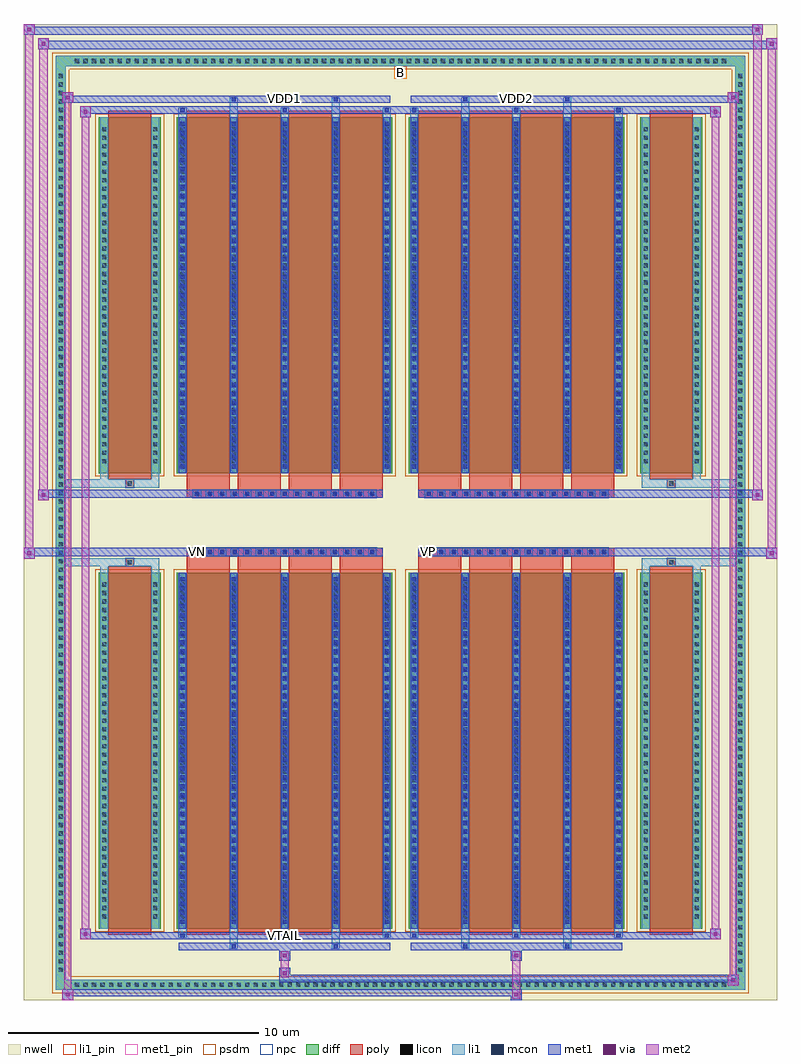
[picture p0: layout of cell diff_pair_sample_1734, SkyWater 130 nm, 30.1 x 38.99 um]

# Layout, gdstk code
import gdstk
lib = gdstk.Library(unit=1e-6, precision=5e-09)
def R(c, l, rs):  # rectangles x0, y0, x1, y1
    for r in rs: c.add(gdstk.rectangle(r[:2], r[2:], *l))
def A(c, l, x, y, w, h, nx, ny, dx, dy):  # array of equal rectangles
    R(c, l, [(x+i*dx, y+j*dy, x+i*dx+w, y+j*dy+h) for i in range(nx) for j in range(ny)])
def P(c, l, *ps):  # polygons
    for p in ps: c.add(gdstk.Polygon(p, *l))
nwell = (64, 20)
diff = (65, 20)
poly = (66, 20)
licon = (66, 44)
li1_pin = (67, 16)
li1 = (67, 20)
mcon = (67, 44)
met1_pin = (68, 16)
met1 = (68, 20)
via = (68, 44)
met2 = (69, 20)
psdm = (94, 20)
npc = (95, 20)

diff_pair_sample_1734 = lib.new_cell('diff_pair_sample_1734')
R(diff_pair_sample_1734, nwell, [(-15.05,-19.06,15.05,19.93), (-12.37,-17.25,-0.01,-0.795), (0.01,-17.25,12.37,-0.795), (-12.37,0.795,-0.01,17.25), (0.01,0.795,12.37,17.25)])
A(diff_pair_sample_1734, diff, -13.125, -18.66, 0.41, 0.41, 77, 2, 0.34, 36.91)
A(diff_pair_sample_1734, diff, -13.78, -18.055, 0.41, 0.41, 1, 106, 0, 0.34)
A(diff_pair_sample_1734, diff, 13.37, -18.055, 0.41, 0.41, 1, 106, 0, 0.34)
R(diff_pair_sample_1734, diff, [(-13.125,-18.66,13.125,-18.25), (-13.78,-18.055,-13.37,18.055), (13.37,-18.055,13.78,18.055), (-12.06,-16.205,-9.57,-1.985), (-8.93,-16.205,-0.32,-1.985), (0.32,-16.205,8.93,-1.985), (9.57,-16.205,12.06,-1.985), (-12.06,1.985,-9.57,16.205), (-8.93,1.985,-0.32,16.205), (0.32,1.985,8.93,16.205), (9.57,1.985,12.06,16.205), (-13.125,18.25,13.125,18.66)])
P(diff_pair_sample_1734, diff, [(13.78,18.66),(-13.78,18.66),(-13.78,-18.25),(-13.37,-18.25),(-13.37,18.25),(13.37,18.25),(13.37,-18.25),(-13.37,-18.25),(-13.78,-18.25),(-13.78,-18.66),(13.78,-18.66)])
A(diff_pair_sample_1734, poly, -8.54, -16.455, 1.71, 14.72, 4, 2, 2.04, 18.19)
A(diff_pair_sample_1734, poly, 0.71, -16.455, 1.71, 14.72, 4, 2, 2.04, 18.19)
A(diff_pair_sample_1734, poly, -8.54, -1.735, 1.71, 0.41, 4, 2, 2.04, 3.06)
A(diff_pair_sample_1734, poly, 0.71, -1.735, 1.71, 0.41, 4, 2, 2.04, 3.06)
A(diff_pair_sample_1734, poly, -8.29, -1.325, 0.33, 0.33, 15, 2, 0.5, 2.32)
A(diff_pair_sample_1734, poly, 0.96, -1.325, 0.33, 0.33, 15, 2, 0.5, 2.32)
R(diff_pair_sample_1734, poly, [(-11.67,-16.455,-9.96,-1.735), (9.96,-16.455,11.67,-1.735), (-10.98,-1.735,-10.65,-1.405), (-10.98,-1.735,-10.65,-1.405), (10.65,-1.735,10.98,-1.405), (10.65,-1.735,10.98,-1.405), (-8.54,-1.325,-0.71,-0.995), (0.71,-1.325,8.54,-0.995), (-8.54,0.995,-0.71,1.325), (0.71,0.995,8.54,1.325), (-10.98,1.405,-10.65,1.735), (-10.98,1.405,-10.65,1.735), (10.65,1.405,10.98,1.735), (10.65,1.405,10.98,1.735), (-11.67,1.735,-9.96,16.455), (9.96,1.735,11.67,16.455)])
A(diff_pair_sample_1734, licon, -13.005, -18.54, 0.17, 0.17, 77, 2, 0.34, 36.91)
A(diff_pair_sample_1734, licon, -13.66, -17.935, 0.17, 0.17, 1, 106, 0, 0.34)
A(diff_pair_sample_1734, licon, 13.49, -17.935, 0.17, 0.17, 1, 106, 0, 0.34)
A(diff_pair_sample_1734, licon, -11.92, -15.81, 0.17, 0.17, 1, 40, 0, 0.34)
A(diff_pair_sample_1734, licon, -9.88, -15.81, 0.17, 0.17, 1, 40, 0, 0.34)
A(diff_pair_sample_1734, licon, -8.79, -15.81, 0.17, 0.17, 5, 40, 2.04, 0.34)
A(diff_pair_sample_1734, licon, 0.46, -15.81, 0.17, 0.17, 5, 40, 2.04, 0.34)
A(diff_pair_sample_1734, licon, 9.71, -15.81, 0.17, 0.17, 1, 40, 0, 0.34)
A(diff_pair_sample_1734, licon, 11.75, -15.81, 0.17, 0.17, 1, 40, 0, 0.34)
A(diff_pair_sample_1734, licon, -8.21, -1.245, 0.17, 0.17, 15, 2, 0.5, 2.32)
A(diff_pair_sample_1734, licon, 1.04, -1.245, 0.17, 0.17, 15, 2, 0.5, 2.32)
A(diff_pair_sample_1734, licon, -11.92, 2.38, 0.17, 0.17, 1, 40, 0, 0.34)
A(diff_pair_sample_1734, licon, -9.88, 2.38, 0.17, 0.17, 1, 40, 0, 0.34)
A(diff_pair_sample_1734, licon, -8.79, 2.38, 0.17, 0.17, 5, 40, 2.04, 0.34)
A(diff_pair_sample_1734, licon, 0.46, 2.38, 0.17, 0.17, 5, 40, 2.04, 0.34)
A(diff_pair_sample_1734, licon, 9.71, 2.38, 0.17, 0.17, 1, 40, 0, 0.34)
A(diff_pair_sample_1734, licon, 11.75, 2.38, 0.17, 0.17, 1, 40, 0, 0.34)
R(diff_pair_sample_1734, licon, [(-10.9,-1.655,-10.73,-1.485), (10.73,-1.655,10.9,-1.485), (-10.9,1.485,-10.73,1.655), (10.73,1.485,10.9,1.655)])
R(diff_pair_sample_1734, li1_pin, [(-0.25,17.75,0.25,18.25)])
A(diff_pair_sample_1734, li1, -13.085, -18.62, 0.33, 0.33, 77, 2, 0.34, 36.91)
A(diff_pair_sample_1734, li1, -13.74, -18.015, 0.33, 0.33, 1, 106, 0, 0.34)
A(diff_pair_sample_1734, li1, 13.41, -18.015, 0.33, 0.33, 1, 106, 0, 0.34)
A(diff_pair_sample_1734, li1, -8.87, -16.58, 0.33, 0.375, 3, 2, 4.08, 32.785)
A(diff_pair_sample_1734, li1, -8.79, -16.58, 0.17, 0.17, 3, 2, 4.08, 32.99)
A(diff_pair_sample_1734, li1, 0.38, -16.58, 0.33, 0.375, 3, 2, 4.08, 32.785)
A(diff_pair_sample_1734, li1, 0.46, -16.58, 0.17, 0.17, 3, 2, 4.08, 32.99)
A(diff_pair_sample_1734, li1, -8.87, -16.205, 0.33, 14.22, 5, 2, 2.04, 18.19)
A(diff_pair_sample_1734, li1, 0.38, -16.205, 0.33, 14.22, 5, 2, 2.04, 18.19)
A(diff_pair_sample_1734, li1, -8.79, -16.02, 0.17, 0.17, 5, 39, 2.04, 0.36)
A(diff_pair_sample_1734, li1, -8.79, -16.02, 0.17, 13.85, 5, 2, 2.04, 18.19)
A(diff_pair_sample_1734, li1, 0.46, -16.02, 0.17, 0.17, 5, 39, 2.04, 0.36)
A(diff_pair_sample_1734, li1, 0.46, -16.02, 0.17, 13.85, 5, 2, 2.04, 18.19)
A(diff_pair_sample_1734, li1, -12, -15.89, 0.33, 0.33, 1, 40, 0, 0.34)
A(diff_pair_sample_1734, li1, -9.96, -15.89, 0.33, 0.33, 1, 40, 0, 0.34)
A(diff_pair_sample_1734, li1, -8.87, -15.89, 0.33, 0.33, 5, 40, 2.04, 0.34)
A(diff_pair_sample_1734, li1, 0.38, -15.89, 0.33, 0.33, 5, 40, 2.04, 0.34)
A(diff_pair_sample_1734, li1, 9.63, -15.89, 0.33, 0.33, 1, 40, 0, 0.34)
A(diff_pair_sample_1734, li1, 11.67, -15.89, 0.33, 0.33, 1, 40, 0, 0.34)
A(diff_pair_sample_1734, li1, -8.29, -1.325, 0.33, 0.33, 15, 2, 0.5, 2.32)
A(diff_pair_sample_1734, li1, 0.96, -1.325, 0.33, 0.33, 15, 2, 0.5, 2.32)
A(diff_pair_sample_1734, li1, -8.79, 2.17, 0.17, 0.17, 5, 39, 2.04, 0.36)
A(diff_pair_sample_1734, li1, 0.46, 2.17, 0.17, 0.17, 5, 39, 2.04, 0.36)
A(diff_pair_sample_1734, li1, -12, 2.3, 0.33, 0.33, 1, 40, 0, 0.34)
A(diff_pair_sample_1734, li1, -9.96, 2.3, 0.33, 0.33, 1, 40, 0, 0.34)
A(diff_pair_sample_1734, li1, -8.87, 2.3, 0.33, 0.33, 5, 40, 2.04, 0.34)
A(diff_pair_sample_1734, li1, 0.38, 2.3, 0.33, 0.33, 5, 40, 2.04, 0.34)
A(diff_pair_sample_1734, li1, 9.63, 2.3, 0.33, 0.33, 1, 40, 0, 0.34)
A(diff_pair_sample_1734, li1, 11.67, 2.3, 0.33, 0.33, 1, 40, 0, 0.34)
R(diff_pair_sample_1734, li1, [(-13.78,-18.66,-13.37,-18.25), (-13.78,-18.66,-13.37,-18.25), (-13.37,-18.66,13.37,-18.25), (13.37,-18.66,13.78,-18.25), (13.37,-18.66,13.78,-18.25), (-13.78,-18.25,-13.37,18.25), (13.37,-18.25,13.78,18.25), (-6.83,-17.01,-6.5,-16.205), (-6.75,-17.01,-6.58,-16.84), (-2.75,-17.01,-2.42,-16.205), (-2.67,-17.01,-2.5,-16.84), (2.42,-17.01,2.75,-16.205), (2.5,-17.01,2.67,-16.84), (6.5,-17.01,6.83,-16.205), (6.58,-17.01,6.75,-16.84), (-12,-16.205,-11.67,-1.985), (-9.96,-16.205,-9.63,-1.985), (9.63,-16.205,9.96,-1.985), (11.67,-16.205,12,-1.985), (-12,-1.985,-11.67,-1.405), (-9.96,-1.985,-9.63,-1.405), (9.63,-1.985,9.96,-1.405), (11.67,-1.985,12,-1.405), (-13.78,-1.735,-10.98,-1.405), (-12,-1.735,-10.98,-1.405), (-10.98,-1.735,-10.65,-1.405), (-10.65,-1.735,-9.63,-1.405), (9.63,-1.735,10.65,-1.405), (10.65,-1.735,10.98,-1.405), (10.65,-1.735,13.78,-1.405), (10.98,-1.735,12,-1.405), (-13.78,1.405,-10.98,1.735), (-12,1.405,-10.98,1.735), (-12,1.405,-11.67,1.985), (-10.98,1.405,-10.65,1.735), (-10.65,1.405,-9.63,1.735), (-9.96,1.405,-9.63,1.985), (9.63,1.405,10.65,1.735), (9.63,1.405,9.96,1.985), (10.65,1.405,10.98,1.735), (10.65,1.405,13.78,1.735), (10.98,1.405,12,1.735), (11.67,1.405,12,1.985), (-12,1.985,-11.67,16.205), (-9.96,1.985,-9.63,16.205), (9.63,1.985,9.96,16.205), (11.67,1.985,12,16.205), (-6.83,16.205,-6.5,17.01), (-2.75,16.205,-2.42,17.01), (2.42,16.205,2.75,17.01), (6.5,16.205,6.83,17.01), (-6.75,16.84,-6.58,17.01), (-2.67,16.84,-2.5,17.01), (2.5,16.84,2.67,17.01), (6.58,16.84,6.75,17.01), (-13.78,18.25,-13.37,18.66), (-13.78,18.25,-13.37,18.66), (-13.37,18.25,13.37,18.66), (13.37,18.25,13.78,18.66), (13.37,18.25,13.78,18.66)])
A(diff_pair_sample_1734, mcon, -8.79, -16.58, 0.17, 0.17, 3, 2, 4.08, 32.99)
A(diff_pair_sample_1734, mcon, 0.46, -16.58, 0.17, 0.17, 3, 2, 4.08, 32.99)
A(diff_pair_sample_1734, mcon, -8.79, -16.02, 0.17, 0.17, 5, 39, 2.04, 0.36)
A(diff_pair_sample_1734, mcon, 0.46, -16.02, 0.17, 0.17, 5, 39, 2.04, 0.36)
A(diff_pair_sample_1734, mcon, -8.21, -1.245, 0.17, 0.17, 15, 2, 0.5, 2.32)
A(diff_pair_sample_1734, mcon, 1.04, -1.245, 0.17, 0.17, 15, 2, 0.5, 2.32)
A(diff_pair_sample_1734, mcon, -8.79, 2.17, 0.17, 0.17, 5, 39, 2.04, 0.36)
A(diff_pair_sample_1734, mcon, 0.46, 2.17, 0.17, 0.17, 5, 39, 2.04, 0.36)
R(diff_pair_sample_1734, mcon, [(-6.75,-17.01,-6.58,-16.84), (-2.67,-17.01,-2.5,-16.84), (2.5,-17.01,2.67,-16.84), (6.58,-17.01,6.75,-16.84), (-6.75,16.84,-6.58,17.01), (-2.67,16.84,-2.5,17.01), (2.5,16.84,2.67,17.01), (6.58,16.84,6.75,17.01)])
R(diff_pair_sample_1734, met1_pin, [(-4.76,-16.62,-4.49,-16.35), (-8.26,-1.285,-7.99,-1.015), (0.99,-1.285,1.26,-1.015), (-4.76,16.8,-4.49,17.07), (4.49,16.8,4.76,17.07)])
A(diff_pair_sample_1734, met1, -8.85, -16.64, 0.29, 0.29, 3, 2, 4.08, 32.99)
A(diff_pair_sample_1734, met1, 0.4, -16.64, 0.29, 0.29, 3, 2, 4.08, 32.99)
A(diff_pair_sample_1734, met1, -8.85, -16.205, 0.29, 14.22, 5, 2, 2.04, 18.19)
A(diff_pair_sample_1734, met1, 0.4, -16.205, 0.29, 14.22, 5, 2, 2.04, 18.19)
A(diff_pair_sample_1734, met1, -8.85, -16.08, 0.29, 0.29, 5, 39, 2.04, 0.36)
A(diff_pair_sample_1734, met1, 0.4, -16.08, 0.29, 0.29, 5, 39, 2.04, 0.36)
A(diff_pair_sample_1734, met1, -8.27, -1.305, 0.29, 0.29, 15, 2, 0.5, 2.32)
A(diff_pair_sample_1734, met1, 0.98, -1.305, 0.29, 0.29, 15, 2, 0.5, 2.32)
A(diff_pair_sample_1734, met1, -8.85, 2.11, 0.29, 0.29, 5, 39, 2.04, 0.36)
A(diff_pair_sample_1734, met1, 0.4, 2.11, 0.29, 0.29, 5, 39, 2.04, 0.36)
R(diff_pair_sample_1734, met1, [(-13.51,-19.06,-13.08,-18.63), (4.41,-19.06,4.84,-18.63), (-13.51,-18.92,4.84,-18.63), (13.08,-18.49,13.51,-18.06), (-4.84,-18.35,13.51,-18.06), (-4.84,-18.21,-4.41,-17.78), (-4.84,-17.5,-4.41,-17.07), (4.41,-17.5,4.84,-17.07), (-8.85,-17.07,-0.4,-16.78), (-6.81,-17.07,-6.52,-16.78), (-2.73,-17.07,-2.44,-16.78), (0.4,-17.07,8.85,-16.78), (2.44,-17.07,2.73,-16.78), (6.52,-17.07,6.81,-16.78), (-12.8,-16.64,-12.37,-16.21), (-12.8,-16.64,-8.85,-16.35), (-8.85,-16.64,-0.4,-16.35), (-0.4,-16.64,0.4,-16.35), (0.4,-16.64,8.85,-16.35), (8.85,-16.64,12.8,-16.35), (12.37,-16.64,12.8,-16.21), (-15.05,-1.425,-14.62,-0.995), (14.62,-1.425,15.05,-0.995), (-15.05,-1.325,-0.71,-0.995), (-8.54,-1.325,-0.71,-0.995), (0.71,-1.325,8.54,-0.995), (0.71,-1.325,15.05,-0.995), (-14.48,0.895,-14.05,1.325), (14.05,0.895,14.48,1.325), (-14.48,0.995,-8.54,1.325), (-8.54,0.995,-0.71,1.325), (0.71,0.995,8.54,1.325), (8.54,0.995,14.48,1.325), (-12.8,16.21,-12.37,16.64), (12.37,16.21,12.8,16.64), (-12.8,16.35,-8.85,16.64), (-8.85,16.35,-0.4,16.64), (-0.4,16.35,0.4,16.64), (0.4,16.35,8.85,16.64), (8.85,16.35,12.8,16.64), (-13.51,16.78,-13.08,17.21), (-13.51,16.78,-8.85,17.07), (-8.85,16.78,-0.4,17.07), (-6.81,16.78,-6.52,17.07), (-2.73,16.78,-2.44,17.07), (0.4,16.78,8.85,17.07), (2.44,16.78,2.73,17.07), (6.52,16.78,6.81,17.07), (8.85,16.78,13.51,17.07), (13.08,16.78,13.51,17.21), (-14.48,18.93,-14.05,19.36), (-14.48,18.93,-12.37,19.26), (-12.37,18.93,12.37,19.26), (12.37,18.93,15.05,19.26), (14.62,18.93,15.05,19.36), (-15.05,19.5,-14.62,19.93), (-15.05,19.5,-12.37,19.83), (-12.37,19.5,12.37,19.83), (12.37,19.5,14.48,19.83), (14.05,19.5,14.48,19.93)])
R(diff_pair_sample_1734, via, [(-13.37,-18.92,-13.22,-18.77), (4.55,-18.92,4.7,-18.77), (13.22,-18.35,13.37,-18.2), (-4.7,-18.07,-4.55,-17.92), (-4.7,-17.36,-4.55,-17.21), (4.55,-17.36,4.7,-17.21), (-12.66,-16.5,-12.51,-16.35), (12.51,-16.5,12.66,-16.35), (-14.91,-1.285,-14.76,-1.135), (14.76,-1.285,14.91,-1.135), (-14.34,1.035,-14.19,1.185), (14.19,1.035,14.34,1.185), (-12.66,16.35,-12.51,16.5), (12.51,16.35,12.66,16.5), (-13.37,16.92,-13.22,17.07), (13.22,16.92,13.37,17.07), (-14.34,19.07,-14.19,19.22), (14.76,19.07,14.91,19.22), (-14.91,19.64,-14.76,19.79), (14.19,19.64,14.34,19.79)])
R(diff_pair_sample_1734, met2, [(-13.51,-19.06,-13.08,-18.63), (-13.44,-19.06,-13.15,17.21), (-13.15,-19.06,-13.08,-18.63), (-13.46,-19.01,-13.13,-18.68), (4.46,-19.01,4.79,-18.68), (4.46,-18.68,4.79,-17.45), (13.08,-18.49,13.51,-18.06), (13.15,-18.49,13.44,17.21), (13.44,-18.49,13.51,-18.06), (13.13,-18.44,13.46,-18.11), (-4.79,-18.16,-4.46,-17.83), (-4.79,-17.83,-4.46,-17.45), (-4.79,-17.45,-4.46,-17.12), (4.46,-17.45,4.79,-17.12), (-12.8,-16.64,-12.37,-16.21), (-12.73,-16.64,-12.44,16.64), (-12.44,-16.64,-12.37,-16.21), (12.37,-16.64,12.8,-16.21), (12.44,-16.64,12.73,16.64), (12.73,-16.64,12.8,-16.21), (-12.75,-16.59,-12.42,-16.26), (12.42,-16.59,12.75,-16.26), (-15.05,-1.425,-14.62,-0.995), (-15,-1.425,-14.67,19.93), (-14.67,-1.425,-14.62,-0.995), (14.62,-1.425,15.05,-0.995), (14.67,-1.425,15,19.36), (15,-1.425,15.05,-0.995), (-15,-1.375,-14.67,-1.045), (14.67,-1.375,15,-1.045), (-14.48,0.895,-14.05,1.325), (-14.43,0.895,-14.1,19.36), (-14.1,0.895,-14.05,1.325), (14.05,0.895,14.48,1.325), (14.1,0.895,14.43,19.93), (14.43,0.895,14.48,1.325), (-14.43,0.945,-14.1,1.275), (14.1,0.945,14.43,1.275), (-12.8,16.21,-12.37,16.64), (-12.44,16.21,-12.37,16.64), (12.37,16.21,12.8,16.64), (12.73,16.21,12.8,16.64), (-12.75,16.26,-12.42,16.59), (12.42,16.26,12.75,16.59), (-13.51,16.78,-13.08,17.21), (-13.15,16.78,-13.08,17.21), (13.08,16.78,13.51,17.21), (13.44,16.78,13.51,17.21), (-13.46,16.83,-13.13,17.16), (13.13,16.83,13.46,17.16), (-14.48,18.93,-14.05,19.36), (-14.1,18.93,-14.05,19.36), (14.62,18.93,15.05,19.36), (15,18.93,15.05,19.36), (-14.43,18.98,-14.1,19.31), (14.67,18.98,15,19.31), (-15.05,19.5,-14.62,19.93), (-14.67,19.5,-14.62,19.93), (14.05,19.5,14.48,19.93), (14.43,19.5,14.48,19.93), (-15,19.55,-14.67,19.88), (14.1,19.55,14.43,19.88)])
R(diff_pair_sample_1734, psdm, [(-12.19,-16.335,-9.44,-1.855), (-9.06,-16.335,-0.19,-1.855), (0.19,-16.335,9.06,-1.855), (9.44,-16.335,12.19,-1.855), (-12.19,1.855,-9.44,16.335), (-9.06,1.855,-0.19,16.335), (0.19,1.855,9.06,16.335), (9.44,1.855,12.19,16.335)])
P(diff_pair_sample_1734, psdm, [(13.91,18.79),(-13.91,18.79),(-13.91,-18.12),(-13.24,-18.12),(-13.24,18.12),(13.24,18.12),(13.24,-18.12),(-13.24,-18.12),(-13.91,-18.12),(-13.91,-18.79),(13.91,-18.79)])
A(diff_pair_sample_1734, npc, -8.31, -1.345, 0.37, 0.37, 15, 2, 0.5, 2.32)
A(diff_pair_sample_1734, npc, 0.94, -1.345, 0.37, 0.37, 15, 2, 0.5, 2.32)
R(diff_pair_sample_1734, npc, [(-11,-1.755,-10.63,-1.385), (10.63,-1.755,11,-1.385), (-8.31,-1.345,-7.44,-0.975), (-8.31,-1.345,-7.44,-0.975), (-7.81,-1.345,-6.94,-0.975), (-7.81,-1.345,-6.94,-0.975), (-7.31,-1.345,-6.44,-0.975), (-7.31,-1.345,-6.44,-0.975), (-6.81,-1.345,-5.94,-0.975), (-6.81,-1.345,-5.94,-0.975), (-6.31,-1.345,-5.44,-0.975), (-6.31,-1.345,-5.44,-0.975), (-5.81,-1.345,-4.94,-0.975), (-5.81,-1.345,-4.94,-0.975), (-5.31,-1.345,-4.44,-0.975), (-5.31,-1.345,-4.44,-0.975), (-4.81,-1.345,-3.94,-0.975), (-4.81,-1.345,-3.94,-0.975), (-4.31,-1.345,-3.44,-0.975), (-4.31,-1.345,-3.44,-0.975), (-3.81,-1.345,-2.94,-0.975), (-3.81,-1.345,-2.94,-0.975), (-3.31,-1.345,-2.44,-0.975), (-3.31,-1.345,-2.44,-0.975), (-2.81,-1.345,-1.94,-0.975), (-2.81,-1.345,-1.94,-0.975), (-2.31,-1.345,-1.44,-0.975), (-2.31,-1.345,-1.44,-0.975), (-1.81,-1.345,-0.94,-0.975), (-1.81,-1.345,-0.94,-0.975), (0.94,-1.345,1.81,-0.975), (0.94,-1.345,1.81,-0.975), (1.44,-1.345,2.31,-0.975), (1.44,-1.345,2.31,-0.975), (1.94,-1.345,2.81,-0.975), (1.94,-1.345,2.81,-0.975), (2.44,-1.345,3.31,-0.975), (2.44,-1.345,3.31,-0.975), (2.94,-1.345,3.81,-0.975), (2.94,-1.345,3.81,-0.975), (3.44,-1.345,4.31,-0.975), (3.44,-1.345,4.31,-0.975), (3.94,-1.345,4.81,-0.975), (3.94,-1.345,4.81,-0.975), (4.44,-1.345,5.31,-0.975), (4.44,-1.345,5.31,-0.975), (4.94,-1.345,5.81,-0.975), (4.94,-1.345,5.81,-0.975), (5.44,-1.345,6.31,-0.975), (5.44,-1.345,6.31,-0.975), (5.94,-1.345,6.81,-0.975), (5.94,-1.345,6.81,-0.975), (6.44,-1.345,7.31,-0.975), (6.44,-1.345,7.31,-0.975), (6.94,-1.345,7.81,-0.975), (6.94,-1.345,7.81,-0.975), (7.44,-1.345,8.31,-0.975), (7.44,-1.345,8.31,-0.975), (-8.31,0.975,-7.44,1.345), (-8.31,0.975,-7.44,1.345), (-7.81,0.975,-6.94,1.345), (-7.81,0.975,-6.94,1.345), (-7.31,0.975,-6.44,1.345), (-7.31,0.975,-6.44,1.345), (-6.81,0.975,-5.94,1.345), (-6.81,0.975,-5.94,1.345), (-6.31,0.975,-5.44,1.345), (-6.31,0.975,-5.44,1.345), (-5.81,0.975,-4.94,1.345), (-5.81,0.975,-4.94,1.345), (-5.31,0.975,-4.44,1.345), (-5.31,0.975,-4.44,1.345), (-4.81,0.975,-3.94,1.345), (-4.81,0.975,-3.94,1.345), (-4.31,0.975,-3.44,1.345), (-4.31,0.975,-3.44,1.345), (-3.81,0.975,-2.94,1.345), (-3.81,0.975,-2.94,1.345), (-3.31,0.975,-2.44,1.345), (-3.31,0.975,-2.44,1.345), (-2.81,0.975,-1.94,1.345), (-2.81,0.975,-1.94,1.345), (-2.31,0.975,-1.44,1.345), (-2.31,0.975,-1.44,1.345), (-1.81,0.975,-0.94,1.345), (-1.81,0.975,-0.94,1.345), (0.94,0.975,1.81,1.345), (0.94,0.975,1.81,1.345), (1.44,0.975,2.31,1.345), (1.44,0.975,2.31,1.345), (1.94,0.975,2.81,1.345), (1.94,0.975,2.81,1.345), (2.44,0.975,3.31,1.345), (2.44,0.975,3.31,1.345), (2.94,0.975,3.81,1.345), (2.94,0.975,3.81,1.345), (3.44,0.975,4.31,1.345), (3.44,0.975,4.31,1.345), (3.94,0.975,4.81,1.345), (3.94,0.975,4.81,1.345), (4.44,0.975,5.31,1.345), (4.44,0.975,5.31,1.345), (4.94,0.975,5.81,1.345), (4.94,0.975,5.81,1.345), (5.44,0.975,6.31,1.345), (5.44,0.975,6.31,1.345), (5.94,0.975,6.81,1.345), (5.94,0.975,6.81,1.345), (6.44,0.975,7.31,1.345), (6.44,0.975,7.31,1.345), (6.94,0.975,7.81,1.345), (6.94,0.975,7.81,1.345), (7.44,0.975,8.31,1.345), (7.44,0.975,8.31,1.345), (-11,1.385,-10.63,1.755), (10.63,1.385,11,1.755)])
diff_pair_sample_1734.add(gdstk.Label('VTAIL', (-4.625,-16.485), layer=68, texttype=5))
diff_pair_sample_1734.add(gdstk.Label('VN', (-8.125,-1.15), layer=68, texttype=5))
diff_pair_sample_1734.add(gdstk.Label('VP', (1.125,-1.15), layer=68, texttype=5))
diff_pair_sample_1734.add(gdstk.Label('B', (0,18), layer=67, texttype=5))
diff_pair_sample_1734.add(gdstk.Label('VDD2', (4.625,16.935), layer=68, texttype=5))
diff_pair_sample_1734.add(gdstk.Label('VDD1', (-4.625,16.935), layer=68, texttype=5))

lib.write_gds('diff_pair_sample_1734.gds')
